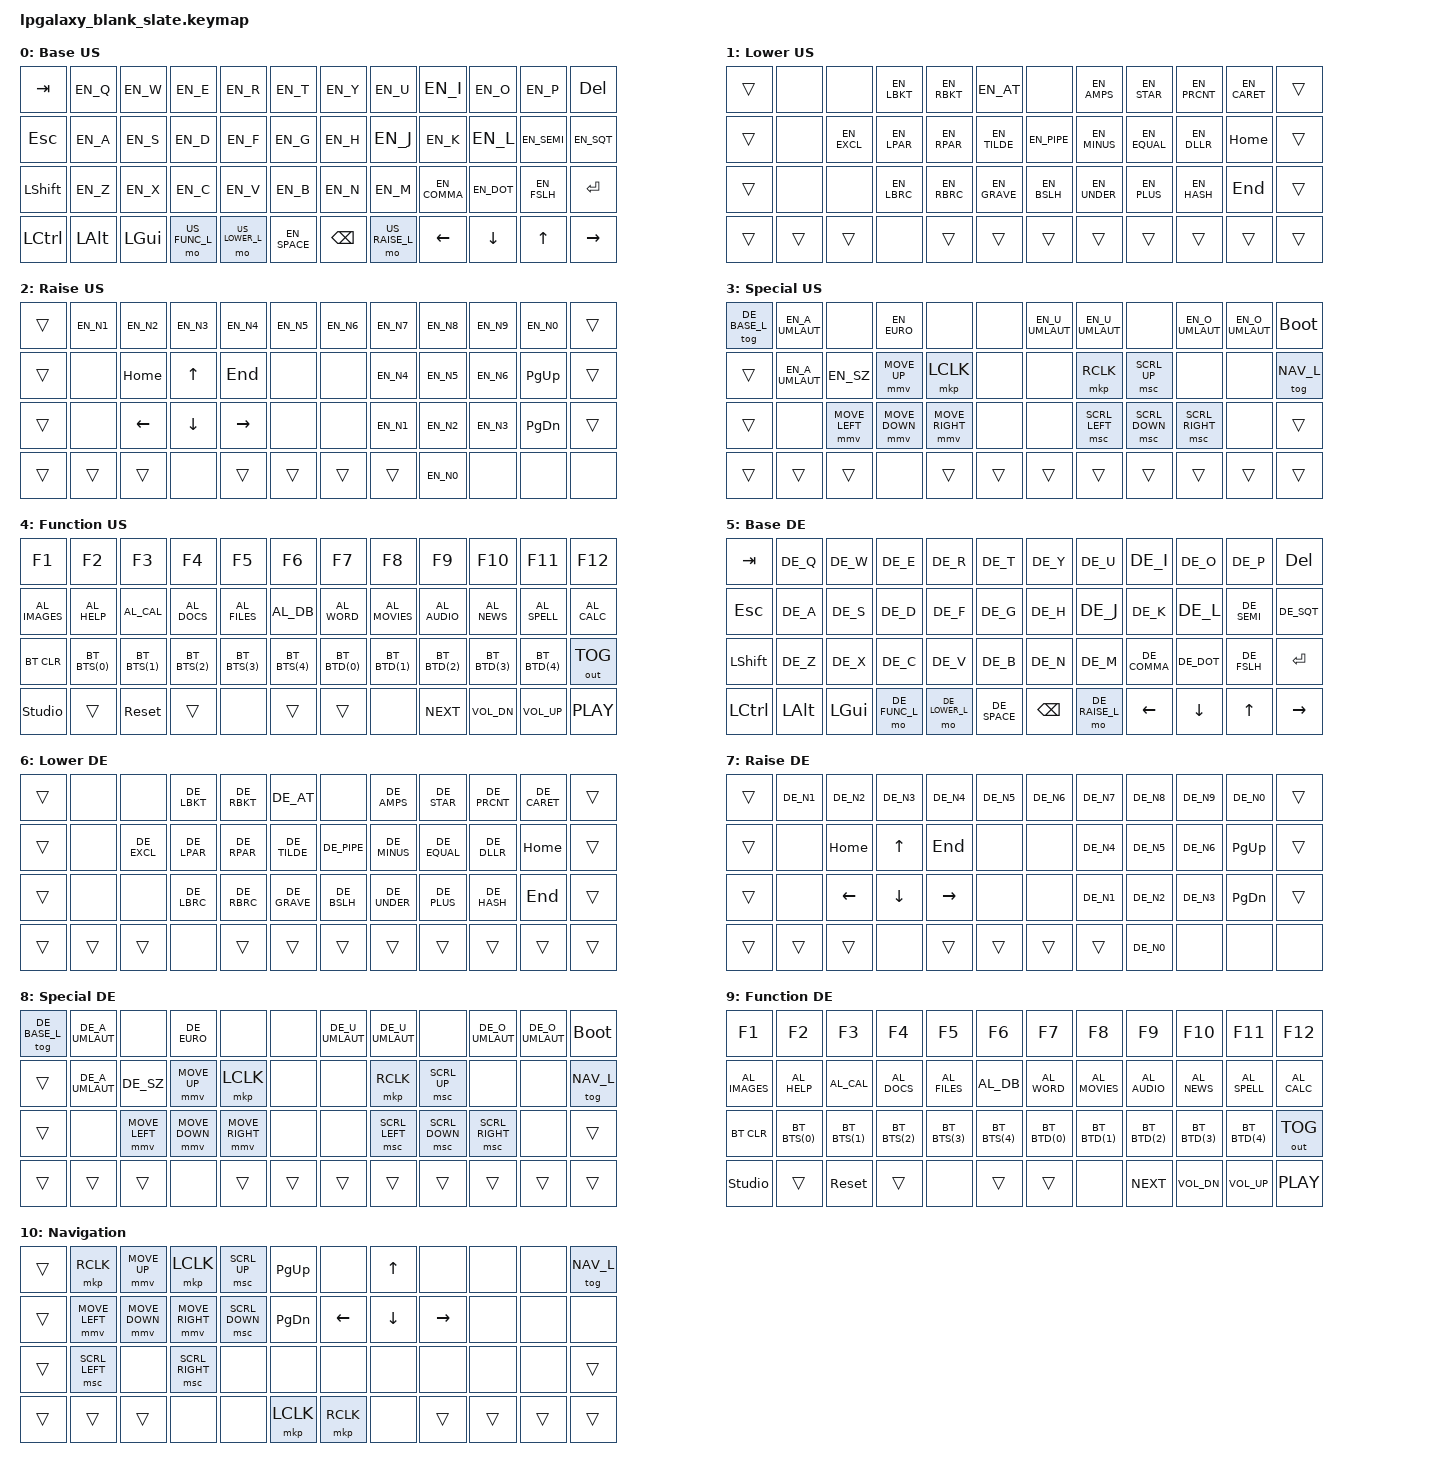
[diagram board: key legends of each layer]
/*
 * Copyright (c) 2022 Pete Johanson
 *
 * SPDX-License-Identifier: MIT
 */

#include <behaviors.dtsi>
#include <dt-bindings/zmk/keys.h>
#include <dt-bindings/zmk/bt.h>
#include <dt-bindings/zmk/outputs.h>
#include <dt-bindings/zmk/pointing.h>
#include "keys_us_international.h"
#include "keys_de.h"

#define US_BASE_L 0
#define US_LOWER_L 1
#define US_RAISE_L 2
#define US_SPECIAL_L 3
#define US_FUNC_L 4
#define DE_BASE_L 5
#define DE_LOWER_L 6
#define DE_RAISE_L 7
#define DE_SPECIAL_L 8
#define DE_FUNC_L 9
#define NAV_L 10

// Using layer taps on thumbs, having quick tap as well helps w/ repeating space/backspace
&lt { quick_tap_ms = <200>; };

#define BTS(n) BT_SEL n
#define BTD(n) BT_DISC n

#define CURR_L &trans
#define DIS_L &none

/ {
    chosen {
       zmk,physical-layout = &layout_ortho_4x12_all1u;
    };

    cond_layers {
        compatible = "zmk,conditional-layers";
	    special_us {
	        if-layers = <US_LOWER_L US_RAISE_L>;
	        then-layer = <US_SPECIAL_L>;
        };

	    special_de {
	        if-layers = <DE_LOWER_L DE_RAISE_L>;
	        then-layer = <DE_SPECIAL_L>;
        };
    };

    keymap {
        compatible = "zmk,keymap";

        us_base_layer {
            label = "Base US";
            bindings = <
&kp TAB    &kp EN_Q   &kp EN_W  &kp EN_E       &kp EN_R        &kp EN_T      &kp EN_Y  &kp EN_U        &kp EN_I      &kp EN_O    &kp EN_P     &kp DEL
&kp ESC    &kp EN_A   &kp EN_S  &kp EN_D       &kp EN_F        &kp EN_G      &kp EN_H  &kp EN_J        &kp EN_K      &kp EN_L    &kp EN_SEMI  &kp EN_SQT
&kp LSHFT  &kp EN_Z   &kp EN_X  &kp EN_C       &kp EN_V        &kp EN_B      &kp EN_N  &kp EN_M        &kp EN_COMMA  &kp EN_DOT  &kp EN_FSLH  &kp RET
&kp LCTRL  &kp LALT   &kp LGUI  &mo US_FUNC_L  &mo US_LOWER_L  &kp EN_SPACE  &kp BKSP  &mo US_RAISE_L  &kp LEFT      &kp DOWN    &kp UP       &kp RIGHT
            >;
        };

        us_lower_layer {
            label = "Lower US";
            bindings = <
&trans  &none   &none        &kp EN_LBKT  &kp EN_RBKT  &kp EN_AT     &none        &kp EN_AMPS   &kp EN_STAR   &kp EN_PRCNT  &kp EN_CARET  &trans
&trans  &none   &kp EN_EXCL  &kp EN_LPAR  &kp EN_RPAR  &kp EN_TILDE  &kp EN_PIPE  &kp EN_MINUS  &kp EN_EQUAL  &kp EN_DLLR   &kp HOME      &trans
&trans  &none   &none        &kp EN_LBRC  &kp EN_RBRC  &kp EN_GRAVE  &kp EN_BSLH  &kp EN_UNDER  &kp EN_PLUS   &kp EN_HASH   &kp END       &trans
&trans  &trans  &trans       DIS_L        CURR_L       &trans        &trans       &trans        &trans        &trans        &trans        &trans
            >;
        };

        us_raise_layer {
            label = "Raise US";
            bindings = <
&trans  &kp EN_N1  &kp EN_N2  &kp EN_N3  &kp EN_N4  &kp EN_N5  &kp EN_N6  &kp EN_N7  &kp EN_N8  &kp EN_N9  &kp EN_N0  &trans
&trans  &none      &kp HOME   &kp UP     &kp END    &none      &none      &kp EN_N4  &kp EN_N5  &kp EN_N6  &kp PG_UP  &trans
&trans  &none      &kp LEFT   &kp DOWN   &kp RIGHT  &none      &none      &kp EN_N1  &kp EN_N2  &kp EN_N3  &kp PG_DN  &trans
&trans  &trans     &trans     DIS_L      &trans     &trans     &trans     CURR_L     &kp EN_N0  &none      &none      &none
            >;
        };

        us_special_layer {
            label = "Special US";
            bindings = <
&tog DE_BASE_L  &kp EN_A_UMLAUT  &none           &kp EN_EURO     &none            &none   &kp EN_U_UMLAUT  &kp EN_U_UMLAUT  &none           &kp EN_O_UMLAUT  &kp EN_O_UMLAUT  &bootloader
&trans          &kp EN_A_UMLAUT  &kp EN_SZ       &mmv MOVE_UP    &mkp LCLK        &none   &none            &mkp RCLK        &msc SCRL_UP    &none            &none            &tog NAV_L
&trans          &none            &mmv MOVE_LEFT  &mmv MOVE_DOWN  &mmv MOVE_RIGHT  &none   &none            &msc SCRL_LEFT   &msc SCRL_DOWN  &msc SCRL_RIGHT  &none            &trans
&trans          &trans           &trans          DIS_L           CURR_L           &trans  &trans           CURR_L           &trans          &trans           &trans           &trans
            >;
        };

        us_func_layer {
            label = "Function US";
            bindings = <
&kp F1           &kp F2         &kp F3        &kp F4         &kp F5          &kp F6       &kp F7         &kp F8           &kp F9          &kp F10        &kp F11         &kp F12
&kp C_AL_IMAGES  &kp C_AL_HELP  &kp C_AL_CAL  &kp C_AL_DOCS  &kp C_AL_FILES  &kp C_AL_DB  &kp C_AL_WORD  &kp C_AL_MOVIES  &kp C_AL_AUDIO  &kp C_AL_NEWS  &kp C_AL_SPELL  &kp C_AL_CALC
&bt BT_CLR       &bt BTS(0)     &bt BTS(1)    &bt BTS(2)     &bt BTS(3)      &bt BTS(4)   &bt BTD(0)     &bt BTD(1)       &bt BTD(2)      &bt BTD(3)     &bt BTD(4)      &out OUT_TOG
&studio_unlock   &trans         &sys_reset    CURR_L         DIS_L           &trans       &trans         DIS_L            &kp C_NEXT      &kp C_VOL_DN   &kp C_VOL_UP    &kp C_PLAY
            >;
        };

        de_base_layer {
            label = "Base DE";
            bindings = <
&kp TAB    &kp DE_Q   &kp DE_W  &kp DE_E       &kp DE_R        &kp DE_T      &kp DE_Y  &kp DE_U        &kp DE_I      &kp DE_O    &kp DE_P     &kp DEL
&kp ESC    &kp DE_A   &kp DE_S  &kp DE_D       &kp DE_F        &kp DE_G      &kp DE_H  &kp DE_J        &kp DE_K      &kp DE_L    &kp DE_SEMI  &kp DE_SQT
&kp LSHFT  &kp DE_Z   &kp DE_X  &kp DE_C       &kp DE_V        &kp DE_B      &kp DE_N  &kp DE_M        &kp DE_COMMA  &kp DE_DOT  &kp DE_FSLH  &kp RET
&kp LCTRL  &kp LALT   &kp LGUI  &mo DE_FUNC_L  &mo DE_LOWER_L  &kp DE_SPACE  &kp BKSP  &mo DE_RAISE_L  &kp LEFT      &kp DOWN    &kp UP       &kp RIGHT
            >;
        };

        de_lower_layer {
            label = "Lower DE";
            bindings = <
&trans  &none   &none        &kp DE_LBKT  &kp DE_RBKT  &kp DE_AT     &none        &kp DE_AMPS   &kp DE_STAR   &kp DE_PRCNT  &kp DE_CARET  &trans
&trans  &none   &kp DE_EXCL  &kp DE_LPAR  &kp DE_RPAR  &kp DE_TILDE  &kp DE_PIPE  &kp DE_MINUS  &kp DE_EQUAL  &kp DE_DLLR   &kp HOME      &trans
&trans  &none   &none        &kp DE_LBRC  &kp DE_RBRC  &kp DE_GRAVE  &kp DE_BSLH  &kp DE_UNDER  &kp DE_PLUS   &kp DE_HASH   &kp END       &trans
&trans  &trans  &trans       DIS_L        CURR_L       &trans        &trans       &trans        &trans        &trans        &trans        &trans
            >;
        };

        de_raise_layer {
            label = "Raise DE";
            bindings = <
&trans  &kp DE_N1  &kp DE_N2  &kp DE_N3  &kp DE_N4  &kp DE_N5  &kp DE_N6  &kp DE_N7  &kp DE_N8  &kp DE_N9  &kp DE_N0  &trans
&trans  &none      &kp HOME   &kp UP     &kp END    &none      &none      &kp DE_N4  &kp DE_N5  &kp DE_N6  &kp PG_UP  &trans
&trans  &none      &kp LEFT   &kp DOWN   &kp RIGHT  &none      &none      &kp DE_N1  &kp DE_N2  &kp DE_N3  &kp PG_DN  &trans
&trans  &trans     &trans     DIS_L      &trans     &trans     &trans     CURR_L     &kp DE_N0  &none      &none      &none
            >;
        };

        de_special_layer {
            label = "Special DE";
            bindings = <
&tog DE_BASE_L  &kp DE_A_UMLAUT  &none           &kp DE_EURO     &none            &none   &kp DE_U_UMLAUT  &kp DE_U_UMLAUT  &none           &kp DE_O_UMLAUT  &kp DE_O_UMLAUT  &bootloader
&trans          &kp DE_A_UMLAUT  &kp DE_SZ       &mmv MOVE_UP    &mkp LCLK        &none   &none            &mkp RCLK        &msc SCRL_UP    &none            &none            &tog NAV_L
&trans          &none            &mmv MOVE_LEFT  &mmv MOVE_DOWN  &mmv MOVE_RIGHT  &none   &none            &msc SCRL_LEFT   &msc SCRL_DOWN  &msc SCRL_RIGHT  &none            &trans
&trans          &trans           &trans          DIS_L           CURR_L           &trans  &trans           CURR_L           &trans          &trans           &trans           &trans
            >;
        };

        de_func_layer {
            label = "Function DE";
            bindings = <
&kp F1           &kp F2         &kp F3        &kp F4         &kp F5          &kp F6       &kp F7         &kp F8           &kp F9          &kp F10        &kp F11         &kp F12
&kp C_AL_IMAGES  &kp C_AL_HELP  &kp C_AL_CAL  &kp C_AL_DOCS  &kp C_AL_FILES  &kp C_AL_DB  &kp C_AL_WORD  &kp C_AL_MOVIES  &kp C_AL_AUDIO  &kp C_AL_NEWS  &kp C_AL_SPELL  &kp C_AL_CALC
&bt BT_CLR       &bt BTS(0)     &bt BTS(1)    &bt BTS(2)     &bt BTS(3)      &bt BTS(4)   &bt BTD(0)     &bt BTD(1)       &bt BTD(2)      &bt BTD(3)     &bt BTD(4)      &out OUT_TOG
&studio_unlock   &trans         &sys_reset    CURR_L         DIS_L           &trans       &trans         DIS_L            &kp C_NEXT      &kp C_VOL_DN   &kp C_VOL_UP    &kp C_PLAY
            >;
        };

        nav_layer {
            label = "Navigation";
            bindings = <
&trans  &mkp RCLK       &mmv MOVE_UP    &mkp LCLK        &msc SCRL_UP    &kp PG_UP  &none      &kp UP    &none      &none   &none   &tog NAV_L
&trans  &mmv MOVE_LEFT  &mmv MOVE_DOWN  &mmv MOVE_RIGHT  &msc SCRL_DOWN  &kp PG_DN  &kp LEFT   &kp DOWN  &kp RIGHT  &none   &none   &none
&trans  &msc SCRL_LEFT  &none           &msc SCRL_RIGHT  &none           &none      &none      &none     &none      &none   &none   &trans
&trans  &trans          &trans          DIS_L            DIS_L           &mkp LCLK  &mkp RCLK  DIS_L     &trans     &trans  &trans  &trans
            >;
        };
    };
};

